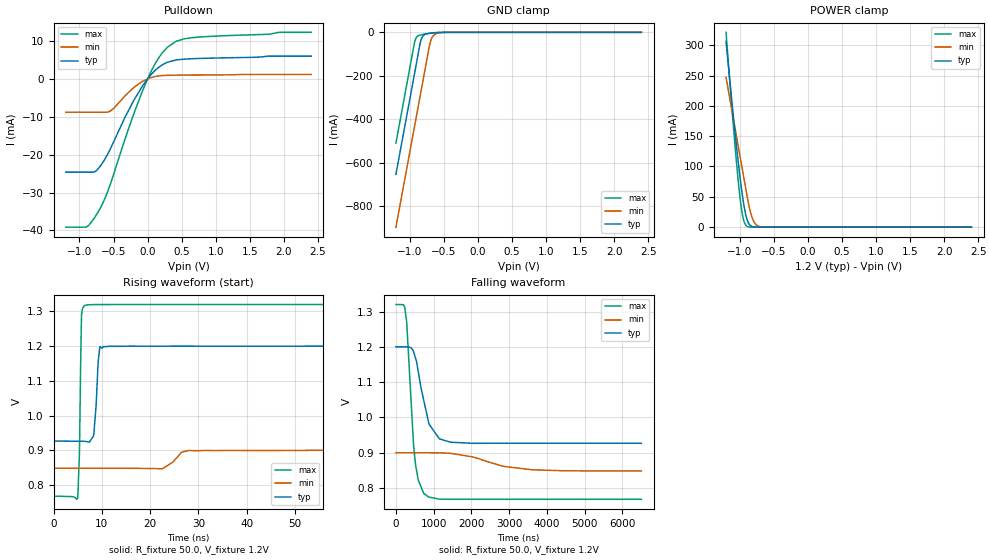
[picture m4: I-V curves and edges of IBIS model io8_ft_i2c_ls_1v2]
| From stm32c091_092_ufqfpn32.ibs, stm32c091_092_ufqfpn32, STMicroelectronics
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[Model]   io8_ft_i2c_ls_1v2
Model_type I/O_open_drain
Polarity   Non-Inverting
Enable   Active-Low
| CAP_THRESHOLD on pad IOFT is "UDTCAPC" :
| Rising=30.0% of vddiom   Falling=70.0% of vddiom
| C_comp min and max val. don't necessarily correlate with the min and max pvt
| but are the smallest and greatest pad capacitance found.
| var   typ   min   max
C_comp   1.89945pF  1.76100pF  1.92610pF
|C_comp_pulldown   1.89945pF  1.76100pF  1.92610pF
Vinl = 450.0mV
Vinh = 660.0mV
Vmeas = 600.0mV   | Reference voltage for timing measurements
Cref  = 50.0pF   | Timing specification test load capacitance value
Rref  = 1.0MOhm   | Timing specification test load resistance value
Vref  = 660.0mV   | Timing specification test load voltage
[Model Spec]
| TIME_THRESHOLD on pin ZII2CV12 is "CMOS" :
| Rising=50.0% of vdd   Falling=50.0% of vdd
Vinl 458.70000mV 361.70000mV 499.70000mV
Vinh 728.30000mV 549.30000mV 792.30000mV
| variable   typ   min   max
[Temperature Range] 25.0 125.0 -40.0
| variable   typ   min   max
[Voltage Range] 1.2V 900.0mV 1.32V
| variable   typ   min   max
[POWER Clamp Reference] 1.2V 900.0mV 1.32V
| variable   typ   min   max
[GND Clamp Reference] 0V 0V 0V
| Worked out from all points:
|   slope of the pulldown table from 0 to 0.18 V, typ, clamps not added: 55.2 ohm
|   GND clamp passes 1 mA (typ) near -0.58 V on its own axis
|   POWER clamp passes 1 mA (typ) near -0.81 V on its own axis
|   rising waveform, R_fixture 50.0, V_fixture 1.2V: 20-80 % time 665ps typ, 2.33ns min, 360ps max; typ from 0.927 V to 1.2 V
|   falling waveform, R_fixture 50.0, V_fixture 1.2V: 20-80 % time 309ns typ, 1.1us min, 191ns max; typ from 1.2 V to 0.927 V
[POWER Clamp]
-1.2V     306.2mA    246.9mA    321.2mA
-1.09V    180mA      177.2mA    163.4mA
-1.05V    136.9mA    151.8mA    110.9mA
-1.01V    96.55mA    126.4mA    64.02mA
-960mV    52.29mA    94.73mA    20.68mA
-930mV    31.08mA    75.71mA    7.282mA
-900mV    15.67mA    56.69mA    2.025mA
-860mV    4.779mA    33.42mA    315.2uA
-810mV    823.2uA    13.62mA    29.21uA
-760mV    129.2uA    4.248mA    2.687uA
-690mV    9.442uA    651.7uA    95.02nA
2.4V      0A         0A         0A
[GND Clamp]
-1.2V     -654.2mA   -897.4mA   -510.5mA
-920mV    -178.2mA   -421.4mA   -38.03mA
-890mV    -127.2mA   -370.4mA   -19.79mA
-840mV    -43.84mA   -285.4mA   -12.07mA
-820mV    -25.28mA   -251.4mA   -10.64mA
-780mV    -10.73mA   -183.4mA   -8.317mA
-700mV    -3.985mA   -50.14mA   -4.515mA
-670mV    -2.94mA    -24.28mA   -3.345mA
-640mV    -2.115mA   -12.33mA   -2.341mA
-570mV    -791.5uA   -2.935mA   -746.3uA
-440mV    -36.45uA   -184.1uA   -16.55uA
2.4V      342.4pA    36.99nA    239.3pA
| variable   typ   min   max
[Pullup Reference] 1.2V 900.0mV 1.32V
| variable   typ   min   max
[Pulldown Reference] 0V 0V 0V
[Pulldown]
-1.2V     -24.6mA    -8.806mA   -39.12mA
-890mV    -24.6mA    -8.806mA   -39.02mA
-780mV    -24.54mA   -8.806mA   -36.66mA
-710mV    -23.4mA    -8.806mA   -34.61mA
-530mV    -17.87mA   -8.266mA   -26.91mA
-330mV    -10.09mA   -4.455mA   -15.79mA
-80mV     -2.02mA    -710uA     -3.413mA
110mV     2.211mA    605.7uA    3.97mA
290mV     4.374mA    930.4uA    8.331mA
420mV     4.991mA    971.3uA    9.931mA
670mV     5.322mA    1.008mA    10.89mA
2.4V      5.995mA    1.165mA    12.27mA
[Ramp]
dV/dt_r 163.74827mV/664.06135ps 30.97105mV/2.32827ns 331.16626mV/360.37518ps
dV/dt_f 163.89149mV/308.67633ns 30.81095mV/1.06506us 331.22329mV/190.67722ns
R_load = 50.0
| Removed startup time: 0s 0s 0s  .
| Removed end time: 79.75ns.
[Rising Waveform]
R_fixture   = 50.0
V_fixture   = 1.2V
V_fixture_min = 900.0mV
V_fixture_max = 1.32V
0s        926.8mV    848.6mV    768mV
5ns       926.3mV    848.6mV    763.7mV
5.35ns    926.3mV    848.6mV    885.7mV
5.8ns     926.3mV    848.6mV    1.291V
6.65ns    925.9mV    848.6mV    1.318V
8.3ns     941.9mV    848.6mV    1.32V
9.65ns    1.199V     848.5mV    1.32V
22.55ns   1.2V       847.4mV    1.32V
27.95ns   1.2V       899.6mV    1.32V
79.75ns   1.2V       900.3mV    1.32V
| Removed startup time: 0s 0s 0s  .
| Removed end time: 6.49965us.
[Falling Waveform]
R_fixture   = 50.0
V_fixture   = 1.2V
V_fixture_min = 900.0mV
V_fixture_max = 1.32V
0s        1.2V       900mV      1.32V
233.4ns   1.2V       900mV      1.312V
284.7ns   1.2V       900mV      1.272V
485.9ns   1.179V     900mV      899.3mV
593ns     1.129V     900mV      822.1mV
735.8ns   1.049V     900mV      784.5mV
875ns     981.5mV    900mV      774.4mV
1.444us   929.9mV    898.3mV    768mV
3.611us   926.9mV    851.7mV    768mV
6.5us     926.8mV    848.6mV    768mV
